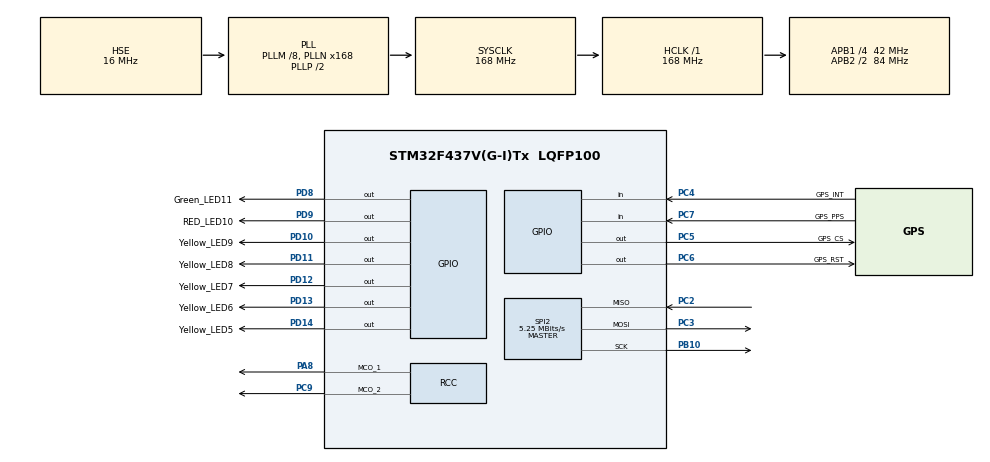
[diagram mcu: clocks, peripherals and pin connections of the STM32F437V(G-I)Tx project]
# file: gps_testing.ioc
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Mcu.Family=STM32F4
Mcu.Name=STM32F437V(G-I)Tx
Mcu.Package=LQFP100
NVIC.PriorityGroup=NVIC_PRIORITYGROUP_4
NVIC.SPI2_IRQn=true\:0\:0\:false\:false\:true\:true\:true\:true
PA13.Mode=Trace_Asynchronous_SW
PA13.Signal=SYS_JTMS-SWDIO
PA14.Mode=Trace_Asynchronous_SW
PA14.Signal=SYS_JTCK-SWCLK
PA8.Mode=Clock-out-1
PA8.Signal=RCC_MCO_1
PB10.Mode=Full_Duplex_Master
PB10.Signal=SPI2_SCK
PB3.Mode=Trace_Asynchronous_SW
PB3.Signal=SYS_JTDO-SWO
PC2.Mode=Full_Duplex_Master
PC2.Signal=SPI2_MISO
PC3.Mode=Full_Duplex_Master
PC3.Signal=SPI2_MOSI
PC4.GPIO_Label=GPS_INT
PC4.Signal=GPIO_Input
PC5.GPIO_Label=GPS_CS
PC5.GPIO_OutputLevel=GPIO_PIN_SET
PC5.Signal=GPIO_Output
PC6.GPIO_Label=GPS_RST
PC6.Signal=GPIO_Output
PC7.GPIO_Label=GPS_PPS
PC7.Signal=GPIO_Input
PC9.Mode=Clock-out-2
PC9.Signal=RCC_MCO_2
PD10.GPIO_Label=Yellow_LED9
PD10.Signal=GPIO_Output
PD11.GPIO_Label=Yellow_LED8
PD11.Signal=GPIO_Output
PD12.GPIO_Label=Yellow_LED7
PD12.Signal=GPIO_Output
PD13.GPIO_Label=Yellow_LED6
PD13.Signal=GPIO_Output
PD14.GPIO_Label=Yellow_LED5
PD14.Signal=GPIO_Output
PD8.GPIO_Label=Green_LED11
PD8.Signal=GPIO_Output
PD9.GPIO_Label=RED_LED10
PD9.Signal=GPIO_Output
PH0/OSC_IN.Mode=HSE-External-Oscillator
PH0/OSC_IN.Signal=RCC_OSC_IN
PH1/OSC_OUT.Mode=HSE-External-Oscillator
PH1/OSC_OUT.Signal=RCC_OSC_OUT
ProjectManager.HeapSize=0x200
ProjectManager.StackSize=0x400
ProjectManager.TargetToolchain=STM32CubeIDE
RCC.48MHZClocksFreq_Value=84000000
RCC.AHBFreq_Value=168000000
RCC.APB1CLKDivider=RCC_HCLK_DIV4
RCC.APB1Freq_Value=42000000
RCC.APB1TimFreq_Value=84000000
RCC.APB2CLKDivider=RCC_HCLK_DIV2
RCC.APB2Freq_Value=84000000
RCC.APB2TimFreq_Value=168000000
RCC.CortexFreq_Value=168000000
RCC.EnbaleCSS=true
RCC.HCLKFreq_Value=168000000
RCC.HSE_VALUE=16000000
RCC.HSI_VALUE=16000000
RCC.LSE_VALUE=32768
RCC.PLLM=8
RCC.PLLN=168
RCC.PLLSourceVirtual=RCC_PLLSOURCE_HSE
RCC.RCC_MCO1Source=RCC_MCO1SOURCE_HSE
RCC.RCC_MCODiv2=RCC_MCODIV_4
RCC.SYSCLKFreq_VALUE=168000000
RCC.SYSCLKSource=RCC_SYSCLKSOURCE_PLLCLK
RCC.VCOOutputFreq_Value=336000000
SPI2.BaudRatePrescaler=SPI_BAUDRATEPRESCALER_8
SPI2.CalculateBaudRate=5.25 MBits/s
SPI2.Direction=SPI_DIRECTION_2LINES
SPI2.Mode=SPI_MODE_MASTER
SPI2.VirtualType=VM_MASTER
board=custom

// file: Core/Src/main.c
/* USER CODE BEGIN Header */
/**
  ******************************************************************************
  * @file           : main.c
  * @brief          : Main program body
  ******************************************************************************
  * @attention
  *
  * Copyright (c) 2026 STMicroelectronics.
  * All rights reserved.
  *
  * This software is licensed under terms that can be found in the LICENSE file
  * in the root directory of this software component.
  * If no LICENSE file comes with this software, it is provided AS-IS.
  *
  ******************************************************************************
  */
/* USER CODE END Header */
#include "main.h"

/* USER CODE BEGIN Includes */
#include <stdio.h>
#include <string.h>

/* USER CODE END Includes */

/* USER CODE BEGIN PTD */
typedef enum
{
  GPS_FRAME_WAIT = 0,
  GPS_FRAME_NMEA,
  GPS_FRAME_UBX_SYNC2,
  GPS_FRAME_UBX_CLASS,
  GPS_FRAME_UBX_ID,
  GPS_FRAME_UBX_LEN_L,
  GPS_FRAME_UBX_LEN_H,
  GPS_FRAME_UBX_PAYLOAD,
  GPS_FRAME_UBX_CK_A,
  GPS_FRAME_UBX_CK_B
} GPS_FrameState_t;

/* USER CODE END PTD */

/* USER CODE BEGIN PD */
#define GPS_SPI_READ_LEN          256U
#define GPS_POLL_PERIOD_MS         20U
#define GPS_COMM_TIMEOUT_MS      3000U
#define GPS_STATUS_PERIOD_MS     1000U
#define HEARTBEAT_TOGGLE_MS       500U
#define GPS_NMEA_MAX_LEN          160U

/* USER CODE END PD */

SPI_HandleTypeDef hspi2;

/* USER CODE BEGIN PV */
static uint8_t gps_spi_tx[GPS_SPI_READ_LEN];
static uint8_t gps_spi_rx[GPS_SPI_READ_LEN];
static char gps_nmea[GPS_NMEA_MAX_LEN];
static GPS_FrameState_t gps_frame_state = GPS_FRAME_WAIT;
static uint16_t gps_nmea_index = 0U;
static uint8_t gps_ubx_class = 0U;
static uint8_t gps_ubx_id = 0U;
static uint16_t gps_ubx_length = 0U;
static uint16_t gps_ubx_payload_index = 0U;
static uint8_t gps_ubx_ck_a = 0U;
static uint8_t gps_ubx_ck_b = 0U;
static uint8_t gps_ubx_received_ck_a = 0U;
static uint32_t gps_raw_byte_count = 0U;
static uint32_t gps_nmea_count = 0U;
static uint32_t gps_ubx_count = 0U;
static uint32_t gps_frame_error_count = 0U;
static uint32_t gps_last_valid_frame_ms = 0U;
static uint32_t gps_monitor_start_ms = 0U;
static uint8_t gps_spi_error = 0U;
static uint8_t gps_frame_error = 0U;

/* USER CODE END PV */

void SystemClock_Config(void);
static void MX_GPIO_Init(void);
static void MX_SPI2_Init(void);
/* USER CODE BEGIN PFP */
static void GPS_Init(void);
static void GPS_Task(void);
static void GPS_ProcessByte(uint8_t byte);
static void GPS_RecordValidFrame(void);
static uint8_t GPS_NMEA_ChecksumValid(const char *sentence);
static void GPS_UBX_ChecksumAdd(uint8_t byte);
static void StatusLED_Task(void);
static void SWV_SendChar(char ch);

/* USER CODE END PFP */

/* USER CODE BEGIN 0 */
static void SWV_SendChar(char ch)
{
  /* Do not block the application when SWV/ITM is not enabled by the debugger. */
  if (((CoreDebug->DEMCR & CoreDebug_DEMCR_TRCENA_Msk) == 0U) ||
      ((ITM->TCR & ITM_TCR_ITMENA_Msk) == 0U) ||
      ((ITM->TER & 1UL) == 0U))
  {
    return;
  }

  uint32_t timeout = 10000U;
  while ((ITM->PORT[0].u32 == 0UL) && (timeout > 0U))
  {
    timeout--;
  }

  if (timeout > 0U)
  {
    ITM->PORT[0].u8 = (uint8_t)ch;
  }
}

int _write(int file, char *ptr, int len)
{
  (void)file;

  for (int i = 0; i < len; i++)
  {
    SWV_SendChar(ptr[i]);
  }

  return len;
}

static void GPS_UBX_ChecksumAdd(uint8_t byte)
{
  gps_ubx_ck_a = (uint8_t)(gps_ubx_ck_a + byte);
  gps_ubx_ck_b = (uint8_t)(gps_ubx_ck_b + gps_ubx_ck_a);
}

static uint8_t GPS_NMEA_ChecksumValid(const char *sentence)
{
  uint8_t checksum = 0U;
  uint8_t expected = 0U;
  const char *p = sentence;

  if ((p == NULL) || (*p != '$'))
  {
    return 0U;
  }

  p++;
  while ((*p != '\0') && (*p != '*') && (*p != '\r') && (*p != '\n'))
  {
    checksum ^= (uint8_t)*p;
    p++;
  }

  if ((*p != '*') || (p[1] == '\0') || (p[2] == '\0'))
  {
    return 0U;
  }

  for (uint8_t i = 1U; i <= 2U; i++)
  {
    char digit = p[i];
    expected <<= 4;

    if ((digit >= '0') && (digit <= '9'))
    {
      expected |= (uint8_t)(digit - '0');
    }
    else if ((digit >= 'A') && (digit <= 'F'))
    {
      expected |= (uint8_t)(digit - 'A' + 10);
    }
    else if ((digit >= 'a') && (digit <= 'f'))
    {
      expected |= (uint8_t)(digit - 'a' + 10);
    }
    else
    {
      return 0U;
    }
  }

  return (checksum == expected) ? 1U : 0U;
}

static void GPS_RecordValidFrame(void)
{
  gps_last_valid_frame_ms = HAL_GetTick();
  gps_spi_error = 0U;
  gps_frame_error = 0U;
}

static void GPS_ProcessByte(uint8_t byte)
{
  /* 0xFF means "no data" only while waiting for the start of a frame. */
  if ((gps_frame_state == GPS_FRAME_WAIT) && (byte == 0xFFU))
  {
    return;
  }

  gps_raw_byte_count++;

  switch (gps_frame_state)
  {
    case GPS_FRAME_WAIT:
      if (byte == (uint8_t)'$')
      {
        gps_nmea_index = 0U;
        gps_nmea[gps_nmea_index++] = (char)byte;
        gps_frame_state = GPS_FRAME_NMEA;
      }
      else if (byte == 0xB5U)
      {
        gps_frame_state = GPS_FRAME_UBX_SYNC2;
      }
      break;

    case GPS_FRAME_NMEA:
      if (byte == (uint8_t)'$')
      {
        /* Recover cleanly if a partial sentence was present at startup. */
        gps_nmea_index = 0U;
        gps_nmea[gps_nmea_index++] = (char)byte;
      }
      else if (gps_nmea_index < (GPS_NMEA_MAX_LEN - 1U))
      {
        gps_nmea[gps_nmea_index++] = (char)byte;

        if (byte == (uint8_t)'\n')
        {
          gps_nmea[gps_nmea_index] = '\0';

          if (GPS_NMEA_ChecksumValid(gps_nmea))
          {
            gps_nmea_count++;
            GPS_RecordValidFrame();
            printf("GPS NMEA: %s", gps_nmea);
          }
          else
          {
            gps_frame_error_count++;
            gps_frame_error = 1U;
          }

          gps_nmea_index = 0U;
          gps_frame_state = GPS_FRAME_WAIT;
        }
      }
      else
      {
        gps_frame_error_count++;
        gps_frame_error = 1U;
        gps_nmea_index = 0U;
        gps_frame_state = GPS_FRAME_WAIT;
      }
      break;

    case GPS_FRAME_UBX_SYNC2:
      if (byte == 0x62U)
      {
        gps_ubx_ck_a = 0U;
        gps_ubx_ck_b = 0U;
        gps_frame_state = GPS_FRAME_UBX_CLASS;
      }
      else
      {
        gps_frame_state = (byte == 0xB5U) ? GPS_FRAME_UBX_SYNC2 : GPS_FRAME_WAIT;
      }
      break;

    case GPS_FRAME_UBX_CLASS:
      gps_ubx_class = byte;
      GPS_UBX_ChecksumAdd(byte);
      gps_frame_state = GPS_FRAME_UBX_ID;
      break;

    case GPS_FRAME_UBX_ID:
      gps_ubx_id = byte;
      GPS_UBX_ChecksumAdd(byte);
      gps_frame_state = GPS_FRAME_UBX_LEN_L;
      break;

    case GPS_FRAME_UBX_LEN_L:
      gps_ubx_length = byte;
      GPS_UBX_ChecksumAdd(byte);
      gps_frame_state = GPS_FRAME_UBX_LEN_H;
      break;

    case GPS_FRAME_UBX_LEN_H:
      gps_ubx_length |= (uint16_t)((uint16_t)byte << 8);
      GPS_UBX_ChecksumAdd(byte);
      gps_ubx_payload_index = 0U;
      gps_frame_state = (gps_ubx_length == 0U) ? GPS_FRAME_UBX_CK_A : GPS_FRAME_UBX_PAYLOAD;
      break;

    case GPS_FRAME_UBX_PAYLOAD:
      GPS_UBX_ChecksumAdd(byte);
      gps_ubx_payload_index++;
      if (gps_ubx_payload_index >= gps_ubx_length)
      {
        gps_frame_state = GPS_FRAME_UBX_CK_A;
      }
      break;

    case GPS_FRAME_UBX_CK_A:
      gps_ubx_received_ck_a = byte;
      gps_frame_state = GPS_FRAME_UBX_CK_B;
      break;

    case GPS_FRAME_UBX_CK_B:
      if ((gps_ubx_received_ck_a == gps_ubx_ck_a) && (byte == gps_ubx_ck_b))
      {
        gps_ubx_count++;
        GPS_RecordValidFrame();
        printf("GPS UBX: class=0x%02X id=0x%02X payload=%u bytes checksum=OK\r\n",
               gps_ubx_class, gps_ubx_id, gps_ubx_length);
      }
      else
      {
        gps_frame_error_count++;
        gps_frame_error = 1U;
      }
      gps_frame_state = GPS_FRAME_WAIT;
      break;

    default:
      gps_frame_state = GPS_FRAME_WAIT;
      break;
  }
}

static void GPS_Init(void)
{
  HAL_GPIO_WritePin(GPS_CS_GPIO_Port, GPS_CS_Pin, GPIO_PIN_SET);
  HAL_GPIO_WritePin(GPS_RST_GPIO_Port, GPS_RST_Pin, GPIO_PIN_SET);
  memset(gps_spi_tx, 0xFF, sizeof(gps_spi_tx));

  /* The reset pin starts low in MX_GPIO_Init; allow the receiver to boot. */
  HAL_Delay(1000U);
  gps_monitor_start_ms = HAL_GetTick();
  gps_last_valid_frame_ms = gps_monitor_start_ms;

  printf("\r\nM9 GPS SPI/SWV test started\r\n");
  printf("Waiting up to %lu ms for a checksum-valid NMEA or UBX message...\r\n",
         (unsigned long)GPS_COMM_TIMEOUT_MS);
}

static void GPS_Task(void)
{
  static uint32_t last_poll_ms = 0U;
  uint32_t now = HAL_GetTick();

  if ((now - last_poll_ms) < GPS_POLL_PERIOD_MS)
  {
    return;
  }
  last_poll_ms = now;

  memset(gps_spi_rx, 0xFF, sizeof(gps_spi_rx));
  HAL_GPIO_WritePin(GPS_CS_GPIO_Port, GPS_CS_Pin, GPIO_PIN_RESET);
  HAL_StatusTypeDef status = HAL_SPI_TransmitReceive(&hspi2,
                                                     gps_spi_tx,
                                                     gps_spi_rx,
                                                     GPS_SPI_READ_LEN,
                                                     100U);
  HAL_GPIO_WritePin(GPS_CS_GPIO_Port, GPS_CS_Pin, GPIO_PIN_SET);

  if (status != HAL_OK)
  {
    if (gps_spi_error == 0U)
    {
      printf("GPS SPI ERROR: HAL status=%d error=0x%08lX\r\n",
             (int)status, (unsigned long)HAL_SPI_GetError(&hspi2));
    }
    gps_spi_error = 1U;
    return;
  }

  for (uint16_t i = 0U; i < GPS_SPI_READ_LEN; i++)
  {
    GPS_ProcessByte(gps_spi_rx[i]);
  }
}

static void StatusLED_Task(void)
{
  static uint32_t last_heartbeat_ms = 0U;
  static uint32_t last_status_ms = 0U;
  uint32_t now = HAL_GetTick();
  uint8_t communication_ok =
      ((gps_nmea_count + gps_ubx_count) > 0U) &&
      ((now - gps_last_valid_frame_ms) <= GPS_COMM_TIMEOUT_MS);
  uint8_t communication_timed_out =
      ((now - gps_monitor_start_ms) > GPS_COMM_TIMEOUT_MS) &&
      ((now - gps_last_valid_frame_ms) > GPS_COMM_TIMEOUT_MS);

  /* A 500 ms toggle gives one complete on/off heartbeat each second. */
  if ((now - last_heartbeat_ms) >= HEARTBEAT_TOGGLE_MS)
  {
    last_heartbeat_ms = now;
    HAL_GPIO_TogglePin(Green_LED11_GPIO_Port, Green_LED11_Pin);
  }

  HAL_GPIO_WritePin(Yellow_LED8_GPIO_Port, Yellow_LED8_Pin,
                    communication_ok ? GPIO_PIN_SET : GPIO_PIN_RESET);
  HAL_GPIO_WritePin(RED_LED10_GPIO_Port, RED_LED10_Pin,
                    (gps_spi_error || gps_frame_error || communication_timed_out) ?
                    GPIO_PIN_SET : GPIO_PIN_RESET);

  if ((now - last_status_ms) >= GPS_STATUS_PERIOD_MS)
  {
    last_status_ms = now;
    printf("GPS status: NMEA=%lu UBX=%lu bytes=%lu frame_errors=%lu PPS=%s comm=%s\r\n",
           (unsigned long)gps_nmea_count,
           (unsigned long)gps_ubx_count,
           (unsigned long)gps_raw_byte_count,
           (unsigned long)gps_frame_error_count,
           (HAL_GPIO_ReadPin(GPS_PPS_GPIO_Port, GPS_PPS_Pin) == GPIO_PIN_SET) ? "HIGH" : "LOW",
           communication_ok ? "OK" : (communication_timed_out ? "TIMEOUT" : "WAITING"));
  }
}

/* USER CODE END 0 */

int main(void)
{

  /* MCU Configuration--------------------------------------------------------*/

  /* Reset of all peripherals, Initializes the Flash interface and the Systick. */
  HAL_Init();

  /* Configure the system clock */
  SystemClock_Config();

  /* Initialize all configured peripherals */
  MX_GPIO_Init();
  MX_SPI2_Init();
  /* USER CODE BEGIN 2 */
  GPS_Init();

  /* USER CODE END 2 */

  /* Infinite loop */
  while (1)
  {

    /* USER CODE BEGIN 3 */
    GPS_Task();
    StatusLED_Task();
  }
  /* USER CODE END 3 */
}

void SystemClock_Config(void)
{
  RCC_OscInitTypeDef RCC_OscInitStruct = {0};
  RCC_ClkInitTypeDef RCC_ClkInitStruct = {0};

  /** Configure the main internal regulator output voltage
  */
  __HAL_RCC_PWR_CLK_ENABLE();
  __HAL_PWR_VOLTAGESCALING_CONFIG(PWR_REGULATOR_VOLTAGE_SCALE1);

  /** Initializes the RCC Oscillators according to the specified parameters
  * in the RCC_OscInitTypeDef structure.
  */
  RCC_OscInitStruct.OscillatorType = RCC_OSCILLATORTYPE_HSE;
  RCC_OscInitStruct.HSEState = RCC_HSE_ON;
  RCC_OscInitStruct.PLL.PLLState = RCC_PLL_ON;
  RCC_OscInitStruct.PLL.PLLSource = RCC_PLLSOURCE_HSE;
  RCC_OscInitStruct.PLL.PLLM = 8;
  RCC_OscInitStruct.PLL.PLLN = 168;
  RCC_OscInitStruct.PLL.PLLP = RCC_PLLP_DIV2;
  RCC_OscInitStruct.PLL.PLLQ = 4;
  if (HAL_RCC_OscConfig(&RCC_OscInitStruct) != HAL_OK)
  {
    Error_Handler();
  }

  /** Initializes the CPU, AHB and APB buses clocks
  */
  RCC_ClkInitStruct.ClockType = RCC_CLOCKTYPE_HCLK|RCC_CLOCKTYPE_SYSCLK
                              |RCC_CLOCKTYPE_PCLK1|RCC_CLOCKTYPE_PCLK2;
  RCC_ClkInitStruct.SYSCLKSource = RCC_SYSCLKSOURCE_PLLCLK;
  RCC_ClkInitStruct.AHBCLKDivider = RCC_SYSCLK_DIV1;
  RCC_ClkInitStruct.APB1CLKDivider = RCC_HCLK_DIV4;
  RCC_ClkInitStruct.APB2CLKDivider = RCC_HCLK_DIV2;

  if (HAL_RCC_ClockConfig(&RCC_ClkInitStruct, FLASH_LATENCY_5) != HAL_OK)
  {
    Error_Handler();
  }
  HAL_RCC_MCOConfig(RCC_MCO1, RCC_MCO1SOURCE_HSE, RCC_MCODIV_1);
  HAL_RCC_MCOConfig(RCC_MCO2, RCC_MCO2SOURCE_SYSCLK, RCC_MCODIV_4);

  /** Enables the Clock Security System
  */
  HAL_RCC_EnableCSS();
}

static void MX_SPI2_Init(void)
{

  /* SPI2 parameter configuration*/
  hspi2.Instance = SPI2;
  hspi2.Init.Mode = SPI_MODE_MASTER;
  hspi2.Init.Direction = SPI_DIRECTION_2LINES;
  hspi2.Init.DataSize = SPI_DATASIZE_8BIT;
  hspi2.Init.CLKPolarity = SPI_POLARITY_LOW;
  hspi2.Init.CLKPhase = SPI_PHASE_1EDGE;
  hspi2.Init.NSS = SPI_NSS_SOFT;
  hspi2.Init.BaudRatePrescaler = SPI_BAUDRATEPRESCALER_8;
  hspi2.Init.FirstBit = SPI_FIRSTBIT_MSB;
  hspi2.Init.TIMode = SPI_TIMODE_DISABLE;
  hspi2.Init.CRCCalculation = SPI_CRCCALCULATION_DISABLE;
  hspi2.Init.CRCPolynomial = 10;
  if (HAL_SPI_Init(&hspi2) != HAL_OK)
  {
    Error_Handler();
  }

}

static void MX_GPIO_Init(void)
{
  GPIO_InitTypeDef GPIO_InitStruct = {0};

  /* GPIO Ports Clock Enable */
  __HAL_RCC_GPIOH_CLK_ENABLE();
  __HAL_RCC_GPIOC_CLK_ENABLE();
  __HAL_RCC_GPIOB_CLK_ENABLE();
  __HAL_RCC_GPIOD_CLK_ENABLE();
  __HAL_RCC_GPIOA_CLK_ENABLE();

  /*Configure GPIO pin Output Level */
  HAL_GPIO_WritePin(GPS_RST_GPIO_Port, GPS_RST_Pin, GPIO_PIN_RESET);

  /*Configure GPIO pin Output Level */
  HAL_GPIO_WritePin(GPS_CS_GPIO_Port, GPS_CS_Pin, GPIO_PIN_SET);

  /*Configure GPIO pin Output Level */
  HAL_GPIO_WritePin(GPIOD, Green_LED11_Pin|RED_LED10_Pin|Yellow_LED9_Pin|Yellow_LED8_Pin
                          |Yellow_LED7_Pin|Yellow_LED6_Pin|Yellow_LED5_Pin, GPIO_PIN_RESET);

  /*Configure GPIO pins : GPS_CS_Pin GPS_RST_Pin */
  GPIO_InitStruct.Pin = GPS_CS_Pin|GPS_RST_Pin;
  GPIO_InitStruct.Mode = GPIO_MODE_OUTPUT_PP;
  GPIO_InitStruct.Pull = GPIO_NOPULL;
  GPIO_InitStruct.Speed = GPIO_SPEED_FREQ_LOW;
  HAL_GPIO_Init(GPIOC, &GPIO_InitStruct);

  /*Configure GPIO pin : GPS_INT_Pin */
  GPIO_InitStruct.Pin = GPS_INT_Pin;
  GPIO_InitStruct.Mode = GPIO_MODE_INPUT;
  GPIO_InitStruct.Pull = GPIO_NOPULL;
  HAL_GPIO_Init(GPS_INT_GPIO_Port, &GPIO_InitStruct);

  /*Configure GPIO pins : Green_LED11_Pin RED_LED10_Pin Yellow_LED9_Pin Yellow_LED8_Pin
                           Yellow_LED7_Pin Yellow_LED6_Pin Yellow_LED5_Pin */
  GPIO_InitStruct.Pin = Green_LED11_Pin|RED_LED10_Pin|Yellow_LED9_Pin|Yellow_LED8_Pin
                          |Yellow_LED7_Pin|Yellow_LED6_Pin|Yellow_LED5_Pin;
  GPIO_InitStruct.Mode = GPIO_MODE_OUTPUT_PP;
  GPIO_InitStruct.Pull = GPIO_NOPULL;
  GPIO_InitStruct.Speed = GPIO_SPEED_FREQ_LOW;
  HAL_GPIO_Init(GPIOD, &GPIO_InitStruct);

  /*Configure GPIO pin : GPS_PPS_Pin */
  GPIO_InitStruct.Pin = GPS_PPS_Pin;
  GPIO_InitStruct.Mode = GPIO_MODE_INPUT;
  GPIO_InitStruct.Pull = GPIO_NOPULL;
  HAL_GPIO_Init(GPS_PPS_GPIO_Port, &GPIO_InitStruct);

  /*Configure GPIO pin : PC9 */
  GPIO_InitStruct.Pin = GPIO_PIN_9;
  GPIO_InitStruct.Mode = GPIO_MODE_AF_PP;
  GPIO_InitStruct.Pull = GPIO_NOPULL;
  GPIO_InitStruct.Speed = GPIO_SPEED_FREQ_LOW;
  GPIO_InitStruct.Alternate = GPIO_AF0_MCO;
  HAL_GPIO_Init(GPIOC, &GPIO_InitStruct);

  /*Configure GPIO pin : PA8 */
  GPIO_InitStruct.Pin = GPIO_PIN_8;
  GPIO_InitStruct.Mode = GPIO_MODE_AF_PP;
  GPIO_InitStruct.Pull = GPIO_NOPULL;
  GPIO_InitStruct.Speed = GPIO_SPEED_FREQ_LOW;
  GPIO_InitStruct.Alternate = GPIO_AF0_MCO;
  HAL_GPIO_Init(GPIOA, &GPIO_InitStruct);

}

void Error_Handler(void)
{
  /* USER CODE BEGIN Error_Handler_Debug */
  /* Make fatal initialization failures visible even if SWV is unavailable. */
  __HAL_RCC_GPIOD_CLK_ENABLE();
  GPIO_InitTypeDef GPIO_InitStruct = {0};
  GPIO_InitStruct.Pin = RED_LED10_Pin;
  GPIO_InitStruct.Mode = GPIO_MODE_OUTPUT_PP;
  GPIO_InitStruct.Pull = GPIO_NOPULL;
  GPIO_InitStruct.Speed = GPIO_SPEED_FREQ_LOW;
  HAL_GPIO_Init(RED_LED10_GPIO_Port, &GPIO_InitStruct);
  HAL_GPIO_WritePin(RED_LED10_GPIO_Port, RED_LED10_Pin, GPIO_PIN_SET);
  __disable_irq();
  while (1)
  {
  }
  /* USER CODE END Error_Handler_Debug */
}
